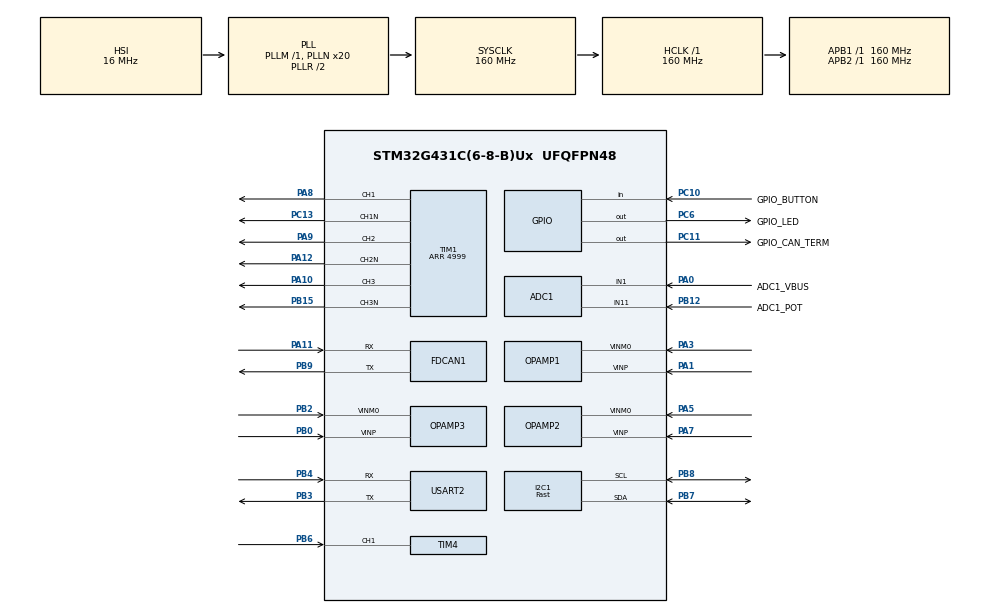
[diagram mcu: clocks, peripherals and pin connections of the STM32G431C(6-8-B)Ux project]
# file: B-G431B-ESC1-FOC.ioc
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ADC1.Channel-0\#ChannelRegularConversion=ADC_CHANNEL_VOPAMP1
ADC1.Channel-1\#ChannelRegularConversion=ADC_CHANNEL_1
ADC1.Channel-2\#ChannelRegularConversion=ADC_CHANNEL_11
ADC1.DMAContinuousRequests=ENABLE
ADC1.EOCSelection=ADC_EOC_SEQ_CONV
ADC1.ExternalTrigConv=ADC_EXTERNALTRIG_T1_TRGO
ADC1.NbrOfConversion=3
ADC1.NbrOfConversionFlag=1
ADC1.OffsetNumber-0\#ChannelRegularConversion=ADC_OFFSET_NONE
ADC1.OffsetNumber-1\#ChannelRegularConversion=ADC_OFFSET_NONE
ADC1.OffsetNumber-2\#ChannelRegularConversion=ADC_OFFSET_NONE
ADC1.Overrun=ADC_OVR_DATA_OVERWRITTEN
ADC1.Rank-0\#ChannelRegularConversion=1
ADC1.Rank-1\#ChannelRegularConversion=2
ADC1.Rank-2\#ChannelRegularConversion=3
ADC1.SamplingTime-0\#ChannelRegularConversion=ADC_SAMPLETIME_2CYCLES_5
ADC1.SamplingTime-1\#ChannelRegularConversion=ADC_SAMPLETIME_2CYCLES_5
ADC1.SamplingTime-2\#ChannelRegularConversion=ADC_SAMPLETIME_2CYCLES_5
ADC1.master=1
ADC2.Channel-0\#ChannelRegularConversion=ADC_CHANNEL_VOPAMP2
ADC2.Channel-1\#ChannelRegularConversion=ADC_CHANNEL_VOPAMP3_ADC2
ADC2.DMAContinuousRequests=ENABLE
ADC2.EOCSelection=ADC_EOC_SEQ_CONV
ADC2.ExternalTrigConv=ADC_EXTERNALTRIG_T1_TRGO
ADC2.NbrOfConversion=2
ADC2.NbrOfConversionFlag=1
ADC2.OffsetNumber-0\#ChannelRegularConversion=ADC_OFFSET_NONE
ADC2.OffsetNumber-1\#ChannelRegularConversion=ADC_OFFSET_NONE
ADC2.Overrun=ADC_OVR_DATA_OVERWRITTEN
ADC2.Rank-0\#ChannelRegularConversion=1
ADC2.Rank-1\#ChannelRegularConversion=2
ADC2.SamplingTime-0\#ChannelRegularConversion=ADC_SAMPLETIME_2CYCLES_5
ADC2.SamplingTime-1\#ChannelRegularConversion=ADC_SAMPLETIME_2CYCLES_5
Dma.ADC1.0.Direction=DMA_PERIPH_TO_MEMORY
Dma.ADC1.0.EventEnable=DISABLE
Dma.ADC1.0.Instance=DMA1_Channel3
Dma.ADC1.0.MemDataAlignment=DMA_MDATAALIGN_HALFWORD
Dma.ADC1.0.MemInc=DMA_MINC_ENABLE
Dma.ADC1.0.Mode=DMA_CIRCULAR
Dma.ADC1.0.PeriphDataAlignment=DMA_PDATAALIGN_HALFWORD
Dma.ADC1.0.PeriphInc=DMA_PINC_DISABLE
Dma.ADC1.0.Polarity=HAL_DMAMUX_REQ_GEN_RISING
Dma.ADC1.0.Priority=DMA_PRIORITY_LOW
Dma.ADC1.0.RequestNumber=1
Dma.ADC1.0.SignalID=NONE
Dma.ADC1.0.SyncEnable=DISABLE
Dma.ADC1.0.SyncPolarity=HAL_DMAMUX_SYNC_NO_EVENT
Dma.ADC1.0.SyncRequestNumber=1
Dma.ADC1.0.SyncSignalID=NONE
Dma.ADC2.1.Direction=DMA_PERIPH_TO_MEMORY
Dma.ADC2.1.EventEnable=DISABLE
Dma.ADC2.1.Instance=DMA1_Channel4
Dma.ADC2.1.MemDataAlignment=DMA_MDATAALIGN_HALFWORD
Dma.ADC2.1.MemInc=DMA_MINC_ENABLE
Dma.ADC2.1.Mode=DMA_CIRCULAR
Dma.ADC2.1.PeriphDataAlignment=DMA_PDATAALIGN_HALFWORD
Dma.ADC2.1.PeriphInc=DMA_PINC_DISABLE
Dma.ADC2.1.Polarity=HAL_DMAMUX_REQ_GEN_RISING
Dma.ADC2.1.Priority=DMA_PRIORITY_LOW
Dma.ADC2.1.RequestNumber=1
Dma.ADC2.1.SignalID=NONE
Dma.ADC2.1.SyncEnable=DISABLE
Dma.ADC2.1.SyncPolarity=HAL_DMAMUX_SYNC_NO_EVENT
Dma.ADC2.1.SyncRequestNumber=1
Dma.ADC2.1.SyncSignalID=NONE
Dma.Request0=ADC1
Dma.Request1=ADC2
FDCAN1.DataSyncJumpWidth=4
FDCAN1.DataTimeSeg1=5
FDCAN1.DataTimeSeg2=4
FDCAN1.NominalSyncJumpWidth=16
FDCAN1.NominalTimeSeg1=63
FDCAN1.NominalTimeSeg2=16
FDCAN1.StdFiltersNbr=1
I2C1.I2C_Speed_Mode=I2C_Fast
I2C1.Timing=0x00F07BFF
Mcu.Family=STM32G4
Mcu.Name=STM32G431C(6-8-B)Ux
Mcu.Package=UFQFPN48
NVIC.ADC1_2_IRQn=true\:0\:0\:false\:false\:true\:true\:true\:true
NVIC.DMA1_Channel3_IRQn=true\:0\:0\:false\:false\:true\:false\:true\:true
NVIC.DMA1_Channel4_IRQn=true\:0\:0\:false\:false\:true\:false\:true\:true
NVIC.FDCAN1_IT0_IRQn=true\:0\:0\:false\:false\:true\:true\:true\:true
NVIC.PriorityGroup=NVIC_PRIORITYGROUP_4
NVIC.TIM4_IRQn=true\:0\:0\:false\:false\:true\:true\:true\:true
NVIC.TIM6_DAC_IRQn=true\:0\:0\:false\:false\:true\:true\:true\:true
OPAMP1.PgaGain=OPAMP_PGA_GAIN_16_OR_MINUS_15
OPAMP2.PgaGain=OPAMP_PGA_GAIN_16_OR_MINUS_15
OPAMP3.PgaGain=OPAMP_PGA_GAIN_16_OR_MINUS_15
PA0.GPIO_Label=ADC1_VBUS
PA0.Mode=IN1-Single-Ended
PA0.Signal=ADC1_IN1
PA1.Mode=PGA Internally connected_IO0_BIAS
PA1.Signal=OPAMP1_VINP
PA10.Signal=S_TIM1_CH3
PA11.Mode=FDCAN_Activate
PA11.Signal=FDCAN1_RX
PA12.Mode=PWM Generation2 CH2 CH2N
PA12.Signal=TIM1_CH2N
PA13.Mode=Serial_Wire
PA13.Signal=SYS_JTMS-SWDIO
PA14.Mode=Serial_Wire
PA14.Signal=SYS_JTCK-SWCLK
PA3.Mode=PGA Internally connected_IO0_BIAS
PA3.Signal=OPAMP1_VINM0
PA5.Mode=PGA Internally connected_IO0_BIAS
PA5.Signal=OPAMP2_VINM0
PA7.Mode=PGA Internally connected_IO0_BIAS
PA7.Signal=OPAMP2_VINP
PA8.Signal=S_TIM1_CH1
PA9.Signal=S_TIM1_CH2
PB0.Mode=PGA Internally connected_IO0_BIAS
PB0.Signal=OPAMP3_VINP
PB12.GPIO_Label=ADC1_POT
PB12.Mode=IN11-Single-Ended
PB12.Signal=ADC1_IN11
PB15.Mode=PWM Generation3 CH3 CH3N
PB15.Signal=TIM1_CH3N
PB2.Mode=PGA Internally connected_IO0_BIAS
PB2.Signal=OPAMP3_VINM0
PB3.Mode=Asynchronous
PB3.Signal=USART2_TX
PB4.Mode=Asynchronous
PB4.Signal=USART2_RX
PB6.GPIO_PuPd=GPIO_PULLDOWN
PB6.Signal=S_TIM4_CH1
PB7.Mode=I2C
PB7.Signal=I2C1_SDA
PB8-BOOT0.Mode=I2C
PB8-BOOT0.Signal=I2C1_SCL
PB9.Mode=FDCAN_Activate
PB9.Signal=FDCAN1_TX
PC10.GPIO_Label=GPIO_BUTTON
PC10.Signal=GPIO_Input
PC11.GPIO_Label=GPIO_CAN_TERM
PC11.PinState=GPIO_PIN_SET
PC11.Signal=GPIO_Output
PC13.Mode=PWM Generation1 CH1 CH1N
PC13.Signal=TIM1_CH1N
PC6.GPIO_Label=GPIO_LED
PC6.Signal=GPIO_Output
PF0-OSC_IN.Mode=HSE-External-Oscillator
PF0-OSC_IN.Signal=RCC_OSC_IN
PF1-OSC_OUT.Mode=HSE-External-Oscillator
PF1-OSC_OUT.Signal=RCC_OSC_OUT
ProjectManager.HeapSize=0x200
ProjectManager.StackSize=0x400
ProjectManager.TargetToolchain=STM32CubeIDE
RCC.ADC12Freq_Value=160000000
RCC.AHBFreq_Value=160000000
RCC.APB1Freq_Value=160000000
RCC.APB1TimFreq_Value=160000000
RCC.APB2Freq_Value=160000000
RCC.APB2TimFreq_Value=160000000
RCC.CortexFreq_Value=160000000
RCC.EXTERNAL_CLOCK_VALUE=12288000
RCC.HCLKFreq_Value=160000000
RCC.HSE_VALUE=8000000
RCC.HSI48_VALUE=48000000
RCC.HSI_VALUE=16000000
RCC.LSE_VALUE=32768
RCC.PLLN=20
RCC.SYSCLKFreq_VALUE=160000000
RCC.SYSCLKSource=RCC_SYSCLKSOURCE_PLLCLK
RCC.USBFreq_Value=160000000
RCC.VCOOutputFreq_Value=320000000
SH.S_TIM1_CH1.0=TIM1_CH1,PWM Generation1 CH1 CH1N
SH.S_TIM1_CH2.0=TIM1_CH2,PWM Generation2 CH2 CH2N
SH.S_TIM1_CH3.0=TIM1_CH3,PWM Generation3 CH3 CH3N
SH.S_TIM4_CH1.0=TIM4_CH1,PWM_Input_1
TIM1.Channel-PWM\ Generation1\ CH1\ CH1N=TIM_CHANNEL_1
TIM1.Channel-PWM\ Generation2\ CH2\ CH2N=TIM_CHANNEL_2
TIM1.Channel-PWM\ Generation3\ CH3\ CH3N=TIM_CHANNEL_3
TIM1.CounterMode=TIM_COUNTERMODE_CENTERALIGNED1
TIM1.DeadTime=128
TIM1.PeriodNoDither=4999
TIM1.TIM_MasterOutputTrigger=TIM_TRGO_UPDATE
TIM4.PeriodNoDither=999
TIM4.Prescaler=159
TIM6.PeriodNoDither=9999
TIM6.Prescaler=159
TIM7.Prescaler=159
USART2.DMADisableonRxErrorParam=ADVFEATURE_DMA_DISABLEONRXERROR
USART2.FIFOMode=FIFOMODE_DISABLE
USART2.OverrunDisableParam=ADVFEATURE_OVERRUN_DISABLE
USART2.VirtualMode-Asynchronous=VM_ASYNC
VP_ADC1_OPAMP_INTERNAL1.Mode=IN-OPAMP1
VP_ADC2_OPAMP_INTERNAL2.Mode=IN-OPAMP2
VP_ADC2_OPAMP_INTERNAL3.Mode=IN-OPAMP3
VP_SYS_VS_DBSignals.Mode=DisableDeadBatterySignals
VP_TIM6_VS_ClockSourceINT.Mode=Enable_Timer
VP_TIM7_VS_ClockSourceINT.Mode=Enable_Timer
board=custom

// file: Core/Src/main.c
/* USER CODE BEGIN Header */
/**
  ******************************************************************************
  * @file           : main.c
  * @brief          : Main program body
  ******************************************************************************
  * @attention
  *
  * Copyright (c) 2022 STMicroelectronics.
  * All rights reserved.
  *
  * This software is licensed under terms that can be found in the LICENSE file
  * in the root directory of this software component.
  * If no LICENSE file comes with this software, it is provided AS-IS.
  *
  ******************************************************************************
  */
/* USER CODE END Header */
#include "main.h"

/* USER CODE BEGIN PD */
#define NLSM_END 0x0AU
#define NLSM_ESC 0x0BU
#define NLSM_ESC_END 0x1AU
#define NLSM_ESC_ESC 0x1BU
/* USER CODE END PD */

 ADC_HandleTypeDef hadc1;
ADC_HandleTypeDef hadc2;
DMA_HandleTypeDef hdma_adc1;
DMA_HandleTypeDef hdma_adc2;

FDCAN_HandleTypeDef hfdcan1;

I2C_HandleTypeDef hi2c1;

OPAMP_HandleTypeDef hopamp1;
OPAMP_HandleTypeDef hopamp2;
OPAMP_HandleTypeDef hopamp3;

TIM_HandleTypeDef htim1;
TIM_HandleTypeDef htim4;
TIM_HandleTypeDef htim6;
TIM_HandleTypeDef htim7;

UART_HandleTypeDef huart2;

/* USER CODE BEGIN PV */

const uint16_t ADC_RESOLUTION = 4096;
//const float ADC_OPAMP_CURRENT_COEFFICIENT = 0.00357; // convert ADC bits to Amps
const float ADC_OPAMP_CURRENT_COEFFICIENT = 0.004; // convert ADC bits to Amps

uint16_t adc1_dma_data[3];
uint16_t adc2_dma_data[2];
uint16_t adc_opamp_current_offset[3];

AS5600 encoder;
FOC_Config foc_config;
FOC_Param foc_param;

// encoder variables
float encoder_position_prev;
int32_t encoder_n_rotations;

float input_pot;

static FDCAN_RxHeaderTypeDef RxHeader;
static uint8_t RxData[8];
static FDCAN_TxHeaderTypeDef TxHeader;
static uint8_t TxData[8];

/* USER CODE END PV */

void SystemClock_Config(void);
static void MX_GPIO_Init(void);
static void MX_OPAMP1_Init(void);
static void MX_OPAMP2_Init(void);
static void MX_OPAMP3_Init(void);
static void MX_TIM1_Init(void);
static void MX_USART2_UART_Init(void);
static void MX_I2C1_Init(void);
static void MX_DMA_Init(void);
static void MX_ADC2_Init(void);
static void MX_ADC1_Init(void);
static void MX_TIM6_Init(void);
static void MX_TIM4_Init(void);
static void MX_FDCAN1_Init(void);
static void MX_TIM7_Init(void);
/* USER CODE BEGIN PFP */

uint8_t getUserButton();
void handleHostCommand();

/* USER CODE END PFP */

/* USER CODE BEGIN 0 */

void HAL_ADC_ConvCpltCallback(ADC_HandleTypeDef *hadc) {
  if (hadc == &hadc1) {
    // phase current: positive for going into phase, negative for going out of phase
    // shunt: when current flows inward phase, shunt voltage is negative; when current flows outward phase, shunt voltage is positive
    // thus we put negative sign at phase current conversion.
    if(__HAL_TIM_IS_TIM_COUNTING_DOWN(&htim1)) {
      foc_param.phase_current_measured[0] = -(float)(adc1_dma_data[0] - adc_opamp_current_offset[0]) * ADC_OPAMP_CURRENT_COEFFICIENT;
      foc_param.bus_voltage_measured = adc1_dma_data[1] / (float)ADC_RESOLUTION * 3.3 * 10.39;
      input_pot = (adc1_dma_data[2] / (float)ADC_RESOLUTION) * 2 - 1;
    }
  }
  if (hadc == &hadc2) {
    if(__HAL_TIM_IS_TIM_COUNTING_DOWN(&htim1)) {
      foc_param.phase_current_measured[1] = -(float)(adc2_dma_data[0] - adc_opamp_current_offset[1]) * ADC_OPAMP_CURRENT_COEFFICIENT;
      foc_param.phase_current_measured[2] = -(float)(adc2_dma_data[1] - adc_opamp_current_offset[2]) * ADC_OPAMP_CURRENT_COEFFICIENT;
    }
  }
}

void HAL_TIM_IC_CaptureCallback(TIM_HandleTypeDef *htim) {
//  if (htim == &htim4) {
//    logStat();
//    FOC_updateTorque();
//  }
}

void HAL_TIM_PeriodElapsedCallback(TIM_HandleTypeDef *htim) {
  if (htim == &htim4) {
    FOC_updateTorque();
  }
  else if (htim == &htim6) {
    FOC_updatePositionVelocityPID();
  }
}

uint8_t getUserButton() {
  return HAL_GPIO_ReadPin(GPIO_BUTTON_GPIO_Port, GPIO_BUTTON_Pin) ? 0 : 1;
}

void handleHostCommand() {
  char str[128];

  uint8_t command = 0;

  if (HAL_UART_Receive(&huart2, &command, 1, 1000) != HAL_OK) {
    return;
  }

  if (command == '0') {  // idle mode
    foc_config.mode = FOC_MODE_IDLE;
    sprintf(str, "IDLE mode\n");
    HAL_UART_Transmit(&huart2, (uint8_t *)str, strlen(str), 1000);
    return;
  }
  if (command == '1') {  // position mode
    sprintf(str, "Start Calibration\n");
    HAL_UART_Transmit(&huart2, (uint8_t *)str, strlen(str), 1000);
    FOC_runCalibrationSequence();
    sprintf(str, "Calibration Done!\n");
    HAL_UART_Transmit(&huart2, (uint8_t *)str, strlen(str), 1000);
    return;
  }
  if (command == '2') {  // torque mode
    foc_config.mode = FOC_MODE_TORQUE;
    sprintf(str, "TORQUE mode\n");
    HAL_UART_Transmit(&huart2, (uint8_t *)str, strlen(str), 1000);
    return;
  }
  if (command == '3') {  // velocity mode
    foc_config.mode = FOC_MODE_VELOCITY;
    sprintf(str, "VELOCITY mode\n");
    HAL_UART_Transmit(&huart2, (uint8_t *)str, strlen(str), 1000);
    return;
  }
  if (command == '4') {  // position mode
    foc_config.mode = FOC_MODE_POSITION;
    sprintf(str, "POSITION mode\n");
    HAL_UART_Transmit(&huart2, (uint8_t *)str, strlen(str), 1000);
    return;
  }
  if (command == 'I') {  // log currents
    sprintf(str, "%f\t%f\t%f\t%f\t%f\t%f\t%f\n",
        foc_param.phase_current_measured[0],
        foc_param.phase_current_measured[1],
        foc_param.phase_current_measured[2],
        foc_param.i_alpha,
        foc_param.i_beta,
        foc_param.i_q,
        foc_param.i_d);
    HAL_UART_Transmit(&huart2, (uint8_t *)str, strlen(str), 1000);
    return;
  }
  if (command == 'V') {  // log voltages
    sprintf(str, "%f\t%f\t%f\t%f\t%f\t%f\t%f\t%f\n",
        foc_param.phase_voltage_setpoint[0],
        foc_param.phase_voltage_setpoint[1],
        foc_param.phase_voltage_setpoint[2],
        foc_param.v_alpha,
        foc_param.v_beta,
        foc_param.v_q,
        foc_param.v_d,
        foc_param.bus_voltage_measured);
    HAL_UART_Transmit(&huart2, (uint8_t *)str, strlen(str), 1000);
    return;
  }
  if (command == 'p') {  // log position
    sprintf(str, "%f\t%f\n",
        foc_param.position_measured,
        foc_param.position_setpoint
        );
    HAL_UART_Transmit(&huart2, (uint8_t *)str, strlen(str), 1000);
    return;
  }
  if (command == 'v') {  // log velocity
    sprintf(str, "%f\t%f\n",
        foc_param.velocity_measured,
        foc_param.velocity_setpoint
        );
    HAL_UART_Transmit(&huart2, (uint8_t *)str, strlen(str), 1000);
    return;
  }
  if (command == 'G') {  // log general
    sprintf(str, "%f\t%f\t%f\t%f\t%f\t%f\n",
        foc_param.position_measured,
        foc_param.position_setpoint,
        foc_param.velocity_measured,
        foc_param.velocity_setpoint,
        foc_param.i_q,
        foc_param.torque_setpoint
        );
    HAL_UART_Transmit(&huart2, (uint8_t *)str, strlen(str), 1000);
    return;
  }
}

void CAN_init(void) {
  FDCAN_FilterTypeDef sFilterConfig;

  /* Configure Rx filter */
  sFilterConfig.IdType = FDCAN_STANDARD_ID;
  sFilterConfig.FilterIndex = 0;
  sFilterConfig.FilterType = FDCAN_FILTER_RANGE;
  sFilterConfig.FilterConfig = FDCAN_FILTER_TO_RXFIFO0;
  sFilterConfig.FilterID1 = 0x000;
  sFilterConfig.FilterID2 = 0x100;
  if (HAL_FDCAN_ConfigFilter(&hfdcan1, &sFilterConfig) != HAL_OK) {
    Error_Handler();
  }

  /* Configure global filter:
     Filter all remote frames with STD and EXT ID
     Reject non matching frames with STD ID and EXT ID */
  if (HAL_FDCAN_ConfigGlobalFilter(&hfdcan1, FDCAN_REJECT, FDCAN_REJECT, FDCAN_FILTER_REMOTE, FDCAN_FILTER_REMOTE) != HAL_OK) {
    Error_Handler();
  }

  /* Start the FDCAN module */
  if (HAL_FDCAN_Start(&hfdcan1) != HAL_OK) {
    Error_Handler();
  }

  if (HAL_FDCAN_ActivateNotification(&hfdcan1, FDCAN_IT_RX_FIFO0_NEW_MESSAGE, 0) != HAL_OK) {
    Error_Handler();
  }

  /* Prepare Tx Header */
  TxHeader.Identifier = 0;
  TxHeader.IdType = FDCAN_STANDARD_ID;
  TxHeader.TxFrameType = FDCAN_DATA_FRAME;
  TxHeader.DataLength = FDCAN_DLC_BYTES_8;
  TxHeader.ErrorStateIndicator = FDCAN_ESI_ACTIVE;
  TxHeader.BitRateSwitch = FDCAN_BRS_OFF;
  TxHeader.FDFormat = FDCAN_CLASSIC_CAN;
  TxHeader.TxEventFifoControl = FDCAN_NO_TX_EVENTS;
  TxHeader.MessageMarker = 0;
}

/* USER CODE END 0 */

int main(void)
{

  /* MCU Configuration--------------------------------------------------------*/

  /* Reset of all peripherals, Initializes the Flash interface and the Systick. */
  HAL_Init();

  /* Configure the system clock */
  SystemClock_Config();

  /* Initialize all configured peripherals */
  MX_GPIO_Init();
  MX_OPAMP1_Init();
  MX_OPAMP2_Init();
  MX_OPAMP3_Init();
  MX_TIM1_Init();
  MX_USART2_UART_Init();
  MX_I2C1_Init();
  MX_DMA_Init();
  MX_ADC2_Init();
  MX_ADC1_Init();
  MX_TIM6_Init();
  MX_TIM4_Init();
  MX_FDCAN1_Init();
  MX_TIM7_Init();
  /* USER CODE BEGIN 2 */

  AS5600_init(&encoder, &hi2c1, &htim7);

  foc_config.mode = FOC_MODE_IDLE;
  foc_config.encoder_flux_angle_offset = 1.77;
  foc_config.n_pole_pairs = 14;
  foc_config.motor_direction = 1;
  foc_config.is_closed_loop = 0;

  foc_config.position_kp = 0.2;
  foc_config.position_ki = 0.001;
  foc_config.position_ki_threshold = 100;
  foc_config.position_kd = 0.01;
  foc_config.position_limit_lower = 0;
  foc_config.position_limit_upper = 0;

  foc_config.velocity_kp = 0.2;
  foc_config.velocity_ki = 0.002;
  foc_config.velocity_ki_threshold = 100;
  foc_config.velocity_limit_upper = 0;
  foc_config.velocity_limit_lower = 0;

  foc_config.torque_kp = 4;
  foc_config.torque_limit_upper = 10;
  foc_config.torque_limit_lower = -10;

  foc_config.flux_kp = 4;

  foc_config.current_limit = 5;

  foc_config.current_sample_filter_rate = 0.1;

  FOC_init(&foc_config, &foc_param, &encoder);

//  uint8_t buffer[2];
//  HAL_I2C_Mem_Read(&hi2c1, 0b0110110<<1, 0x08, I2C_MEMADD_SIZE_8BIT, buffer, 1, 10);
//  buffer[0] &= ~(0b11 << 4);
//  buffer[0] |= (0b10 << 4);
//  HAL_I2C_Mem_Write(&hi2c1, 0b0110110<<1, 0x08, I2C_MEMADD_SIZE_8BIT, buffer, 1, 10);

  adc_opamp_current_offset[0] = 2485;
  adc_opamp_current_offset[1] = 2463;
  adc_opamp_current_offset[2] = 2484;

  // initialize
  CAN_init();

  __HAL_TIM_SET_COMPARE(&htim1, TIM_CHANNEL_1, 0);
  __HAL_TIM_SET_COMPARE(&htim1, TIM_CHANNEL_2, 0);
  __HAL_TIM_SET_COMPARE(&htim1, TIM_CHANNEL_3, 0);

  HAL_TIM_PWM_Start(&htim1,TIM_CHANNEL_1);
  HAL_TIMEx_PWMN_Start(&htim1,TIM_CHANNEL_1);
  HAL_TIM_PWM_Start(&htim1,TIM_CHANNEL_2);
  HAL_TIMEx_PWMN_Start(&htim1,TIM_CHANNEL_2);
  HAL_TIM_PWM_Start(&htim1,TIM_CHANNEL_3);
  HAL_TIMEx_PWMN_Start(&htim1,TIM_CHANNEL_3);

  // OPAMP and ADC init
  HAL_OPAMP_Start(&hopamp1);
  HAL_OPAMP_Start(&hopamp2);
  HAL_OPAMP_Start(&hopamp3);

  HAL_ADC_Start_DMA(&hadc1, (uint32_t*)adc1_dma_data, 3);
  HAL_ADC_Start_DMA(&hadc2, (uint32_t*)adc2_dma_data, 2);

//  HAL_TIM_IC_Start_IT(&htim4, TIM_CHANNEL_1);
//  HAL_TIM_IC_Start(&htim4, TIM_CHANNEL_2);
  HAL_TIM_Base_Start_IT(&htim4);
  HAL_TIM_Base_Start_IT(&htim6);
  HAL_TIM_Base_Start(&htim7);

  // CORDIC init
//  API_CORDIC_Processor_Init();

  foc_param.position_setpoint = 0;

  HAL_UART_Transmit(&huart2, (uint8_t *)"ready\n", strlen("ready\n"), 1000);
  /* USER CODE END 2 */

  /* Infinite loop */
  while (1) {

    /* USER CODE BEGIN 3 */
    if (getUserButton()) {
      FOC_runCalibrationSequence();
    }

    if (foc_config.mode == FOC_MODE_TORQUE) {
      foc_param.torque_setpoint = input_pot * 5;
      foc_param.velocity_setpoint = 0;
      foc_param.position_setpoint = 0;
    }
    else if (foc_config.mode == FOC_MODE_VELOCITY) {
      foc_param.velocity_setpoint = input_pot * 10;
      foc_param.position_setpoint = 0;
    }
    else if (foc_config.mode == FOC_MODE_POSITION) {
      foc_param.velocity_setpoint = 0;
      foc_param.position_setpoint = input_pot * M_PI * 15;
    }
    handleHostCommand();
    HAL_Delay(1);
  }
  /* USER CODE END 3 */
}

void SystemClock_Config(void)
{
  RCC_OscInitTypeDef RCC_OscInitStruct = {0};
  RCC_ClkInitTypeDef RCC_ClkInitStruct = {0};

  /** Configure the main internal regulator output voltage
  */
  HAL_PWREx_ControlVoltageScaling(PWR_REGULATOR_VOLTAGE_SCALE1_BOOST);

  /** Initializes the RCC Oscillators according to the specified parameters
  * in the RCC_OscInitTypeDef structure.
  */
  RCC_OscInitStruct.OscillatorType = RCC_OSCILLATORTYPE_HSI;
  RCC_OscInitStruct.HSIState = RCC_HSI_ON;
  RCC_OscInitStruct.HSICalibrationValue = RCC_HSICALIBRATION_DEFAULT;
  RCC_OscInitStruct.PLL.PLLState = RCC_PLL_ON;
  RCC_OscInitStruct.PLL.PLLSource = RCC_PLLSOURCE_HSI;
  RCC_OscInitStruct.PLL.PLLM = RCC_PLLM_DIV1;
  RCC_OscInitStruct.PLL.PLLN = 20;
  RCC_OscInitStruct.PLL.PLLP = RCC_PLLP_DIV2;
  RCC_OscInitStruct.PLL.PLLQ = RCC_PLLQ_DIV2;
  RCC_OscInitStruct.PLL.PLLR = RCC_PLLR_DIV2;
  if (HAL_RCC_OscConfig(&RCC_OscInitStruct) != HAL_OK)
  {
    Error_Handler();
  }

  /** Initializes the CPU, AHB and APB buses clocks
  */
  RCC_ClkInitStruct.ClockType = RCC_CLOCKTYPE_HCLK|RCC_CLOCKTYPE_SYSCLK
                              |RCC_CLOCKTYPE_PCLK1|RCC_CLOCKTYPE_PCLK2;
  RCC_ClkInitStruct.SYSCLKSource = RCC_SYSCLKSOURCE_PLLCLK;
  RCC_ClkInitStruct.AHBCLKDivider = RCC_SYSCLK_DIV1;
  RCC_ClkInitStruct.APB1CLKDivider = RCC_HCLK_DIV1;
  RCC_ClkInitStruct.APB2CLKDivider = RCC_HCLK_DIV1;

  if (HAL_RCC_ClockConfig(&RCC_ClkInitStruct, FLASH_LATENCY_4) != HAL_OK)
  {
    Error_Handler();
  }
}

static void MX_ADC1_Init(void)
{

  ADC_MultiModeTypeDef multimode = {0};
  ADC_ChannelConfTypeDef sConfig = {0};

  /** Common config
  */
  hadc1.Instance = ADC1;
  hadc1.Init.ClockPrescaler = ADC_CLOCK_SYNC_PCLK_DIV4;
  hadc1.Init.Resolution = ADC_RESOLUTION_12B;
  hadc1.Init.DataAlign = ADC_DATAALIGN_RIGHT;
  hadc1.Init.GainCompensation = 0;
  hadc1.Init.ScanConvMode = ADC_SCAN_ENABLE;
  hadc1.Init.EOCSelection = ADC_EOC_SEQ_CONV;
  hadc1.Init.LowPowerAutoWait = DISABLE;
  hadc1.Init.ContinuousConvMode = DISABLE;
  hadc1.Init.NbrOfConversion = 3;
  hadc1.Init.DiscontinuousConvMode = DISABLE;
  hadc1.Init.ExternalTrigConv = ADC_EXTERNALTRIG_T1_TRGO;
  hadc1.Init.ExternalTrigConvEdge = ADC_EXTERNALTRIGCONVEDGE_RISING;
  hadc1.Init.DMAContinuousRequests = ENABLE;
  hadc1.Init.Overrun = ADC_OVR_DATA_OVERWRITTEN;
  hadc1.Init.OversamplingMode = DISABLE;
  if (HAL_ADC_Init(&hadc1) != HAL_OK)
  {
    Error_Handler();
  }

  /** Configure the ADC multi-mode
  */
  multimode.Mode = ADC_MODE_INDEPENDENT;
  if (HAL_ADCEx_MultiModeConfigChannel(&hadc1, &multimode) != HAL_OK)
  {
    Error_Handler();
  }

  /** Configure Regular Channel
  */
  sConfig.Channel = ADC_CHANNEL_VOPAMP1;
  sConfig.Rank = ADC_REGULAR_RANK_1;
  sConfig.SamplingTime = ADC_SAMPLETIME_2CYCLES_5;
  sConfig.SingleDiff = ADC_SINGLE_ENDED;
  sConfig.OffsetNumber = ADC_OFFSET_NONE;
  sConfig.Offset = 0;
  if (HAL_ADC_ConfigChannel(&hadc1, &sConfig) != HAL_OK)
  {
    Error_Handler();
  }

  /** Configure Regular Channel
  */
  sConfig.Channel = ADC_CHANNEL_1;
  sConfig.Rank = ADC_REGULAR_RANK_2;
  if (HAL_ADC_ConfigChannel(&hadc1, &sConfig) != HAL_OK)
  {
    Error_Handler();
  }

  /** Configure Regular Channel
  */
  sConfig.Channel = ADC_CHANNEL_11;
  sConfig.Rank = ADC_REGULAR_RANK_3;
  if (HAL_ADC_ConfigChannel(&hadc1, &sConfig) != HAL_OK)
  {
    Error_Handler();
  }

}

static void MX_ADC2_Init(void)
{

  ADC_ChannelConfTypeDef sConfig = {0};

  /** Common config
  */
  hadc2.Instance = ADC2;
  hadc2.Init.ClockPrescaler = ADC_CLOCK_SYNC_PCLK_DIV4;
  hadc2.Init.Resolution = ADC_RESOLUTION_12B;
  hadc2.Init.DataAlign = ADC_DATAALIGN_RIGHT;
  hadc2.Init.GainCompensation = 0;
  hadc2.Init.ScanConvMode = ADC_SCAN_ENABLE;
  hadc2.Init.EOCSelection = ADC_EOC_SEQ_CONV;
  hadc2.Init.LowPowerAutoWait = DISABLE;
  hadc2.Init.ContinuousConvMode = DISABLE;
  hadc2.Init.NbrOfConversion = 2;
  hadc2.Init.DiscontinuousConvMode = DISABLE;
  hadc2.Init.ExternalTrigConv = ADC_EXTERNALTRIG_T1_TRGO;
  hadc2.Init.ExternalTrigConvEdge = ADC_EXTERNALTRIGCONVEDGE_RISING;
  hadc2.Init.DMAContinuousRequests = ENABLE;
  hadc2.Init.Overrun = ADC_OVR_DATA_OVERWRITTEN;
  hadc2.Init.OversamplingMode = DISABLE;
  if (HAL_ADC_Init(&hadc2) != HAL_OK)
  {
    Error_Handler();
  }

  /** Configure Regular Channel
  */
  sConfig.Channel = ADC_CHANNEL_VOPAMP2;
  sConfig.Rank = ADC_REGULAR_RANK_1;
  sConfig.SamplingTime = ADC_SAMPLETIME_2CYCLES_5;
  sConfig.SingleDiff = ADC_SINGLE_ENDED;
  sConfig.OffsetNumber = ADC_OFFSET_NONE;
  sConfig.Offset = 0;
  if (HAL_ADC_ConfigChannel(&hadc2, &sConfig) != HAL_OK)
  {
    Error_Handler();
  }

  /** Configure Regular Channel
  */
  sConfig.Channel = ADC_CHANNEL_VOPAMP3_ADC2;
  sConfig.Rank = ADC_REGULAR_RANK_2;
  if (HAL_ADC_ConfigChannel(&hadc2, &sConfig) != HAL_OK)
  {
    Error_Handler();
  }

}

static void MX_FDCAN1_Init(void)
{

  hfdcan1.Instance = FDCAN1;
  hfdcan1.Init.ClockDivider = FDCAN_CLOCK_DIV1;
  hfdcan1.Init.FrameFormat = FDCAN_FRAME_CLASSIC;
  hfdcan1.Init.Mode = FDCAN_MODE_NORMAL;
  hfdcan1.Init.AutoRetransmission = DISABLE;
  hfdcan1.Init.TransmitPause = DISABLE;
  hfdcan1.Init.ProtocolException = DISABLE;
  hfdcan1.Init.NominalPrescaler = 1;
  hfdcan1.Init.NominalSyncJumpWidth = 16;
  hfdcan1.Init.NominalTimeSeg1 = 63;
  hfdcan1.Init.NominalTimeSeg2 = 16;
  hfdcan1.Init.DataPrescaler = 1;
  hfdcan1.Init.DataSyncJumpWidth = 4;
  hfdcan1.Init.DataTimeSeg1 = 5;
  hfdcan1.Init.DataTimeSeg2 = 4;
  hfdcan1.Init.StdFiltersNbr = 1;
  hfdcan1.Init.ExtFiltersNbr = 0;
  hfdcan1.Init.TxFifoQueueMode = FDCAN_TX_FIFO_OPERATION;
  if (HAL_FDCAN_Init(&hfdcan1) != HAL_OK)
  {
    Error_Handler();
  }

}

static void MX_I2C1_Init(void)
{

  hi2c1.Instance = I2C1;
  hi2c1.Init.Timing = 0x00F07BFF;
  hi2c1.Init.OwnAddress1 = 0;
  hi2c1.Init.AddressingMode = I2C_ADDRESSINGMODE_7BIT;
  hi2c1.Init.DualAddressMode = I2C_DUALADDRESS_DISABLE;
  hi2c1.Init.OwnAddress2 = 0;
  hi2c1.Init.OwnAddress2Masks = I2C_OA2_NOMASK;
  hi2c1.Init.GeneralCallMode = I2C_GENERALCALL_DISABLE;
  hi2c1.Init.NoStretchMode = I2C_NOSTRETCH_DISABLE;
  if (HAL_I2C_Init(&hi2c1) != HAL_OK)
  {
    Error_Handler();
  }

  /** Configure Analogue filter
  */
  if (HAL_I2CEx_ConfigAnalogFilter(&hi2c1, I2C_ANALOGFILTER_ENABLE) != HAL_OK)
  {
    Error_Handler();
  }

  /** Configure Digital filter
  */
  if (HAL_I2CEx_ConfigDigitalFilter(&hi2c1, 0) != HAL_OK)
  {
    Error_Handler();
  }

}

static void MX_OPAMP1_Init(void)
{

  hopamp1.Instance = OPAMP1;
  hopamp1.Init.PowerMode = OPAMP_POWERMODE_NORMALSPEED;
  hopamp1.Init.Mode = OPAMP_PGA_MODE;
  hopamp1.Init.NonInvertingInput = OPAMP_NONINVERTINGINPUT_IO0;
  hopamp1.Init.InternalOutput = ENABLE;
  hopamp1.Init.TimerControlledMuxmode = OPAMP_TIMERCONTROLLEDMUXMODE_DISABLE;
  hopamp1.Init.PgaConnect = OPAMP_PGA_CONNECT_INVERTINGINPUT_IO0_BIAS;
  hopamp1.Init.PgaGain = OPAMP_PGA_GAIN_16_OR_MINUS_15;
  hopamp1.Init.UserTrimming = OPAMP_TRIMMING_FACTORY;
  if (HAL_OPAMP_Init(&hopamp1) != HAL_OK)
  {
    Error_Handler();
  }

}

static void MX_OPAMP2_Init(void)
{

  hopamp2.Instance = OPAMP2;
  hopamp2.Init.PowerMode = OPAMP_POWERMODE_NORMALSPEED;
  hopamp2.Init.Mode = OPAMP_PGA_MODE;
  hopamp2.Init.NonInvertingInput = OPAMP_NONINVERTINGINPUT_IO0;
  hopamp2.Init.InternalOutput = ENABLE;
  hopamp2.Init.TimerControlledMuxmode = OPAMP_TIMERCONTROLLEDMUXMODE_DISABLE;
  hopamp2.Init.PgaConnect = OPAMP_PGA_CONNECT_INVERTINGINPUT_IO0_BIAS;
  hopamp2.Init.PgaGain = OPAMP_PGA_GAIN_16_OR_MINUS_15;
  hopamp2.Init.UserTrimming = OPAMP_TRIMMING_FACTORY;
  if (HAL_OPAMP_Init(&hopamp2) != HAL_OK)
  {
    Error_Handler();
  }

}

static void MX_OPAMP3_Init(void)
{

  hopamp3.Instance = OPAMP3;
  hopamp3.Init.PowerMode = OPAMP_POWERMODE_NORMALSPEED;
  hopamp3.Init.Mode = OPAMP_PGA_MODE;
  hopamp3.Init.NonInvertingInput = OPAMP_NONINVERTINGINPUT_IO0;
  hopamp3.Init.InternalOutput = ENABLE;
  hopamp3.Init.TimerControlledMuxmode = OPAMP_TIMERCONTROLLEDMUXMODE_DISABLE;
  hopamp3.Init.PgaConnect = OPAMP_PGA_CONNECT_INVERTINGINPUT_IO0_BIAS;
  hopamp3.Init.PgaGain = OPAMP_PGA_GAIN_16_OR_MINUS_15;
  hopamp3.Init.UserTrimming = OPAMP_TRIMMING_FACTORY;
  if (HAL_OPAMP_Init(&hopamp3) != HAL_OK)
  {
    Error_Handler();
  }

}

static void MX_TIM1_Init(void)
{

  TIM_MasterConfigTypeDef sMasterConfig = {0};
  TIM_OC_InitTypeDef sConfigOC = {0};
  TIM_BreakDeadTimeConfigTypeDef sBreakDeadTimeConfig = {0};

  htim1.Instance = TIM1;
  htim1.Init.Prescaler = 0;
  htim1.Init.CounterMode = TIM_COUNTERMODE_CENTERALIGNED1;
  htim1.Init.Period = 4999;
  htim1.Init.ClockDivision = TIM_CLOCKDIVISION_DIV1;
  htim1.Init.RepetitionCounter = 0;
  htim1.Init.AutoReloadPreload = TIM_AUTORELOAD_PRELOAD_DISABLE;
  if (HAL_TIM_PWM_Init(&htim1) != HAL_OK)
  {
    Error_Handler();
  }
  sMasterConfig.MasterOutputTrigger = TIM_TRGO_UPDATE;
  sMasterConfig.MasterOutputTrigger2 = TIM_TRGO2_RESET;
  sMasterConfig.MasterSlaveMode = TIM_MASTERSLAVEMODE_DISABLE;
  if (HAL_TIMEx_MasterConfigSynchronization(&htim1, &sMasterConfig) != HAL_OK)
  {
    Error_Handler();
  }
  sConfigOC.OCMode = TIM_OCMODE_PWM1;
  sConfigOC.Pulse = 0;
  sConfigOC.OCPolarity = TIM_OCPOLARITY_HIGH;
  sConfigOC.OCNPolarity = TIM_OCNPOLARITY_HIGH;
  sConfigOC.OCFastMode = TIM_OCFAST_DISABLE;
  sConfigOC.OCIdleState = TIM_OCIDLESTATE_RESET;
  sConfigOC.OCNIdleState = TIM_OCNIDLESTATE_RESET;
  if (HAL_TIM_PWM_ConfigChannel(&htim1, &sConfigOC, TIM_CHANNEL_1) != HAL_OK)
  {
    Error_Handler();
  }
  if (HAL_TIM_PWM_ConfigChannel(&htim1, &sConfigOC, TIM_CHANNEL_2) != HAL_OK)
  {
    Error_Handler();
  }
  if (HAL_TIM_PWM_ConfigChannel(&htim1, &sConfigOC, TIM_CHANNEL_3) != HAL_OK)
  {
    Error_Handler();
  }
  sBreakDeadTimeConfig.OffStateRunMode = TIM_OSSR_DISABLE;
  sBreakDeadTimeConfig.OffStateIDLEMode = TIM_OSSI_DISABLE;
  sBreakDeadTimeConfig.LockLevel = TIM_LOCKLEVEL_OFF;
  sBreakDeadTimeConfig.DeadTime = 128;
  sBreakDeadTimeConfig.BreakState = TIM_BREAK_DISABLE;
  sBreakDeadTimeConfig.BreakPolarity = TIM_BREAKPOLARITY_HIGH;
  sBreakDeadTimeConfig.BreakFilter = 0;
  sBreakDeadTimeConfig.BreakAFMode = TIM_BREAK_AFMODE_INPUT;
  sBreakDeadTimeConfig.Break2State = TIM_BREAK2_DISABLE;
  sBreakDeadTimeConfig.Break2Polarity = TIM_BREAK2POLARITY_HIGH;
  sBreakDeadTimeConfig.Break2Filter = 0;
  sBreakDeadTimeConfig.Break2AFMode = TIM_BREAK_AFMODE_INPUT;
  sBreakDeadTimeConfig.AutomaticOutput = TIM_AUTOMATICOUTPUT_DISABLE;
  if (HAL_TIMEx_ConfigBreakDeadTime(&htim1, &sBreakDeadTimeConfig) != HAL_OK)
  {
    Error_Handler();
  }
  HAL_TIM_MspPostInit(&htim1);

}

static void MX_TIM4_Init(void)
{

  TIM_SlaveConfigTypeDef sSlaveConfig = {0};
  TIM_IC_InitTypeDef sConfigIC = {0};
  TIM_MasterConfigTypeDef sMasterConfig = {0};

  htim4.Instance = TIM4;
  htim4.Init.Prescaler = 159;
  htim4.Init.CounterMode = TIM_COUNTERMODE_UP;
  htim4.Init.Period = 999;
  htim4.Init.ClockDivision = TIM_CLOCKDIVISION_DIV1;
  htim4.Init.AutoReloadPreload = TIM_AUTORELOAD_PRELOAD_DISABLE;
  if (HAL_TIM_IC_Init(&htim4) != HAL_OK)
  {
    Error_Handler();
  }
  sSlaveConfig.SlaveMode = TIM_SLAVEMODE_RESET;
  sSlaveConfig.InputTrigger = TIM_TS_TI1FP1;
  sSlaveConfig.TriggerPolarity = TIM_INPUTCHANNELPOLARITY_RISING;
  sSlaveConfig.TriggerPrescaler = TIM_ICPSC_DIV1;
  sSlaveConfig.TriggerFilter = 0;
  if (HAL_TIM_SlaveConfigSynchro(&htim4, &sSlaveConfig) != HAL_OK)
  {
    Error_Handler();
  }
  sConfigIC.ICPolarity = TIM_INPUTCHANNELPOLARITY_RISING;
  sConfigIC.ICSelection = TIM_ICSELECTION_DIRECTTI;
  sConfigIC.ICPrescaler = TIM_ICPSC_DIV1;
  sConfigIC.ICFilter = 0;
  if (HAL_TIM_IC_ConfigChannel(&htim4, &sConfigIC, TIM_CHANNEL_1) != HAL_OK)
  {
    Error_Handler();
  }
  sConfigIC.ICPolarity = TIM_INPUTCHANNELPOLARITY_FALLING;
  sConfigIC.ICSelection = TIM_ICSELECTION_INDIRECTTI;
  if (HAL_TIM_IC_ConfigChannel(&htim4, &sConfigIC, TIM_CHANNEL_2) != HAL_OK)
  {
    Error_Handler();
  }
  sMasterConfig.MasterOutputTrigger = TIM_TRGO_RESET;
  sMasterConfig.MasterSlaveMode = TIM_MASTERSLAVEMODE_DISABLE;
  if (HAL_TIMEx_MasterConfigSynchronization(&htim4, &sMasterConfig) != HAL_OK)
  {
    Error_Handler();
  }

}

static void MX_TIM6_Init(void)
{

  TIM_MasterConfigTypeDef sMasterConfig = {0};

  htim6.Instance = TIM6;
  htim6.Init.Prescaler = 159;
  htim6.Init.CounterMode = TIM_COUNTERMODE_UP;
  htim6.Init.Period = 9999;
  htim6.Init.AutoReloadPreload = TIM_AUTORELOAD_PRELOAD_DISABLE;
  if (HAL_TIM_Base_Init(&htim6) != HAL_OK)
  {
    Error_Handler();
  }
  sMasterConfig.MasterOutputTrigger = TIM_TRGO_RESET;
  sMasterConfig.MasterSlaveMode = TIM_MASTERSLAVEMODE_DISABLE;
  if (HAL_TIMEx_MasterConfigSynchronization(&htim6, &sMasterConfig) != HAL_OK)
  {
    Error_Handler();
  }

}

static void MX_TIM7_Init(void)
{

  TIM_MasterConfigTypeDef sMasterConfig = {0};

  htim7.Instance = TIM7;
  htim7.Init.Prescaler = 159;
  htim7.Init.CounterMode = TIM_COUNTERMODE_UP;
  htim7.Init.Period = 65535;
  htim7.Init.AutoReloadPreload = TIM_AUTORELOAD_PRELOAD_DISABLE;
  if (HAL_TIM_Base_Init(&htim7) != HAL_OK)
  {
    Error_Handler();
  }
  sMasterConfig.MasterOutputTrigger = TIM_TRGO_RESET;
  sMasterConfig.MasterSlaveMode = TIM_MASTERSLAVEMODE_DISABLE;
  if (HAL_TIMEx_MasterConfigSynchronization(&htim7, &sMasterConfig) != HAL_OK)
  {
    Error_Handler();
  }

}

static void MX_USART2_UART_Init(void)
{

  huart2.Instance = USART2;
  huart2.Init.BaudRate = 115200;
  huart2.Init.WordLength = UART_WORDLENGTH_8B;
  huart2.Init.StopBits = UART_STOPBITS_1;
  huart2.Init.Parity = UART_PARITY_NONE;
  huart2.Init.Mode = UART_MODE_TX_RX;
  huart2.Init.HwFlowCtl = UART_HWCONTROL_NONE;
  huart2.Init.OverSampling = UART_OVERSAMPLING_16;
  huart2.Init.OneBitSampling = UART_ONE_BIT_SAMPLE_DISABLE;
  huart2.Init.ClockPrescaler = UART_PRESCALER_DIV1;
  huart2.AdvancedInit.AdvFeatureInit = UART_ADVFEATURE_RXOVERRUNDISABLE_INIT|UART_ADVFEATURE_DMADISABLEONERROR_INIT;
  huart2.AdvancedInit.OverrunDisable = UART_ADVFEATURE_OVERRUN_DISABLE;
  huart2.AdvancedInit.DMADisableonRxError = UART_ADVFEATURE_DMA_DISABLEONRXERROR;
  if (HAL_UART_Init(&huart2) != HAL_OK)
  {
    Error_Handler();
  }
  if (HAL_UARTEx_SetTxFifoThreshold(&huart2, UART_TXFIFO_THRESHOLD_1_8) != HAL_OK)
  {
    Error_Handler();
  }
  if (HAL_UARTEx_SetRxFifoThreshold(&huart2, UART_RXFIFO_THRESHOLD_1_8) != HAL_OK)
  {
    Error_Handler();
  }
  if (HAL_UARTEx_DisableFifoMode(&huart2) != HAL_OK)
  {
    Error_Handler();
  }

}

static void MX_DMA_Init(void)
{

  /* DMA controller clock enable */
  __HAL_RCC_DMAMUX1_CLK_ENABLE();
  __HAL_RCC_DMA1_CLK_ENABLE();

  /* DMA interrupt init */
  /* DMA1_Channel3_IRQn interrupt configuration */
  HAL_NVIC_SetPriority(DMA1_Channel3_IRQn, 0, 0);
  HAL_NVIC_EnableIRQ(DMA1_Channel3_IRQn);
  /* DMA1_Channel4_IRQn interrupt configuration */
  HAL_NVIC_SetPriority(DMA1_Channel4_IRQn, 0, 0);
  HAL_NVIC_EnableIRQ(DMA1_Channel4_IRQn);

}

static void MX_GPIO_Init(void)
{
  GPIO_InitTypeDef GPIO_InitStruct = {0};

  /* GPIO Ports Clock Enable */
  __HAL_RCC_GPIOC_CLK_ENABLE();
  __HAL_RCC_GPIOF_CLK_ENABLE();
  __HAL_RCC_GPIOA_CLK_ENABLE();
  __HAL_RCC_GPIOB_CLK_ENABLE();

  /*Configure GPIO pin Output Level */
  HAL_GPIO_WritePin(GPIO_LED_GPIO_Port, GPIO_LED_Pin, GPIO_PIN_RESET);

  /*Configure GPIO pin Output Level */
  HAL_GPIO_WritePin(GPIO_CAN_TERM_GPIO_Port, GPIO_CAN_TERM_Pin, GPIO_PIN_SET);

  /*Configure GPIO pins : GPIO_LED_Pin GPIO_CAN_TERM_Pin */
  GPIO_InitStruct.Pin = GPIO_LED_Pin|GPIO_CAN_TERM_Pin;
  GPIO_InitStruct.Mode = GPIO_MODE_OUTPUT_PP;
  GPIO_InitStruct.Pull = GPIO_NOPULL;
  GPIO_InitStruct.Speed = GPIO_SPEED_FREQ_LOW;
  HAL_GPIO_Init(GPIOC, &GPIO_InitStruct);

  /*Configure GPIO pin : GPIO_BUTTON_Pin */
  GPIO_InitStruct.Pin = GPIO_BUTTON_Pin;
  GPIO_InitStruct.Mode = GPIO_MODE_INPUT;
  GPIO_InitStruct.Pull = GPIO_NOPULL;
  HAL_GPIO_Init(GPIO_BUTTON_GPIO_Port, &GPIO_InitStruct);

}

void Error_Handler(void)
{
  __disable_irq();
  while (1)
  {
  }
}
